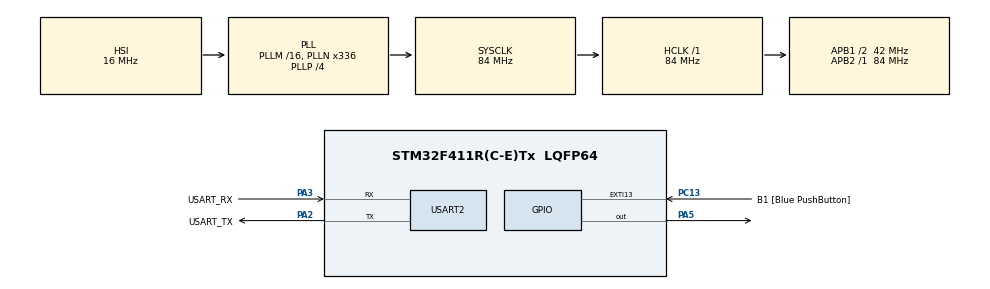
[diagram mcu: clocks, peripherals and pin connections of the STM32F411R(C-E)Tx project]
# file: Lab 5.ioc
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FREERTOS.Mutexes01=pencil,Dynamic,NULL
FREERTOS.Queues01=myQueue01,16,uint16_t,0,Dynamic,NULL,NULL
FREERTOS.Tasks01=defaultTask,24,128,StartDefaultTask,Default,NULL,Dynamic,NULL,NULL;ledOn,16,128,StartLedOn,Default,NULL,Dynamic,NULL,NULL;ledOff,16,128,StartLedOff,Default,NULL,Dynamic,NULL,NULL;getButtonInput,8,128,StartButtonPolling,Default,NULL,Dynamic,NULL,NULL
Mcu.Family=STM32F4
Mcu.Name=STM32F411R(C-E)Tx
Mcu.Package=LQFP64
NVIC.PriorityGroup=NVIC_PRIORITYGROUP_4
NVIC.TIM1_UP_TIM10_IRQn=true\:15\:0\:false\:false\:true\:false\:false\:true\:true
NVIC.TimeBase=TIM1_UP_TIM10_IRQn
NVIC.TimeBaseIP=TIM1
PA13.GPIO_Label=TMS
PA13.Mode=Serial_Wire
PA13.Signal=SYS_JTMS-SWDIO
PA14.GPIO_Label=TCK
PA14.Mode=Serial_Wire
PA14.Signal=SYS_JTCK-SWCLK
PA2.GPIO_Label=USART_TX
PA2.Mode=Asynchronous
PA2.Signal=USART2_TX
PA3.GPIO_Label=USART_RX
PA3.Mode=Asynchronous
PA3.Signal=USART2_RX
PA5.Signal=GPIO_Output
PC13-ANTI_TAMP.GPIO_Label=B1 [Blue PushButton]
PC13-ANTI_TAMP.GPIO_ModeDefaultEXTI=GPIO_MODE_IT_RISING
PC13-ANTI_TAMP.GPIO_PuPd=GPIO_NOPULL
PC13-ANTI_TAMP.Signal=GPXTI13
PC14-OSC32_IN.Mode=LSE-External-Oscillator
PC14-OSC32_IN.Signal=RCC_OSC32_IN
PC15-OSC32_OUT.Mode=LSE-External-Oscillator
PC15-OSC32_OUT.Signal=RCC_OSC32_OUT
PH0\ -\ OSC_IN.Mode=HSE-External-Clock-Source
PH0\ -\ OSC_IN.Signal=RCC_OSC_IN
PH1\ -\ OSC_OUT.Mode=HSE-External-Clock-Source
PH1\ -\ OSC_OUT.Signal=RCC_OSC_OUT
ProjectManager.HeapSize=0x200
ProjectManager.StackSize=0x400
ProjectManager.TargetToolchain=STM32CubeIDE
RCC.48MHZClocksFreq_Value=84000000
RCC.AHBFreq_Value=84000000
RCC.APB1CLKDivider=RCC_HCLK_DIV2
RCC.APB1Freq_Value=42000000
RCC.APB1TimFreq_Value=84000000
RCC.APB2Freq_Value=84000000
RCC.APB2TimFreq_Value=84000000
RCC.CortexFreq_Value=84000000
RCC.FLatency-AdvancedSettings=FLASH_LATENCY_2
RCC.HCLKFreq_Value=84000000
RCC.HSE_VALUE=8000000
RCC.HSI_VALUE=16000000
RCC.PLLN=336
RCC.PLLP=RCC_PLLP_DIV4
RCC.SYSCLKFreq_VALUE=84000000
RCC.SYSCLKSource=RCC_SYSCLKSOURCE_PLLCLK
RCC.VCOOutputFreq_Value=336000000
USART2.VirtualMode=VM_ASYNC
VP_FREERTOS_VS_CMSIS_V2.Mode=CMSIS_V2
VP_SYS_VS_tim1.Mode=TIM1
board=NUCLEO-F411RE

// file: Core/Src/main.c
/* USER CODE BEGIN Header */
/**
  ******************************************************************************
  * @file           : main.c
  * @brief          : Main program body
  ******************************************************************************
  * @attention
  *
  * Copyright (c) 2023 STMicroelectronics.
  * All rights reserved.
  *
  * This software is licensed under terms that can be found in the LICENSE file
  * in the root directory of this software component.
  * If no LICENSE file comes with this software, it is provided AS-IS.
  *
  ******************************************************************************
  */
/* USER CODE END Header */
#include "main.h"
#include "cmsis_os.h"

UART_HandleTypeDef huart2;

/* Definitions for defaultTask */
osThreadId_t defaultTaskHandle;
const osThreadAttr_t defaultTask_attributes = {
  .name = "defaultTask",
  .stack_size = 128 * 4,
  .priority = (osPriority_t) osPriorityNormal,
};
/* Definitions for ledOn */
osThreadId_t ledOnHandle;
const osThreadAttr_t ledOn_attributes = {
  .name = "ledOn",
  .stack_size = 128 * 4,
  .priority = (osPriority_t) osPriorityBelowNormal,
};
/* Definitions for ledOff */
osThreadId_t ledOffHandle;
const osThreadAttr_t ledOff_attributes = {
  .name = "ledOff",
  .stack_size = 128 * 4,
  .priority = (osPriority_t) osPriorityBelowNormal,
};
/* Definitions for getButtonInput */
osThreadId_t getButtonInputHandle;
const osThreadAttr_t getButtonInput_attributes = {
  .name = "getButtonInput",
  .stack_size = 128 * 4,
  .priority = (osPriority_t) osPriorityLow,
};
/* Definitions for myQueue01 */
osMessageQueueId_t myQueue01Handle;
const osMessageQueueAttr_t myQueue01_attributes = {
  .name = "myQueue01"
};
/* Definitions for pencil */
osMutexId_t pencilHandle;
const osMutexAttr_t pencil_attributes = {
  .name = "pencil"
};
/* USER CODE BEGIN PV */
int LED_ON;
/* USER CODE END PV */

void SystemClock_Config(void);
static void MX_GPIO_Init(void);
static void MX_USART2_UART_Init(void);
void StartDefaultTask(void *argument);
void StartLedOn(void *argument);
void StartLedOff(void *argument);
void StartButtonPolling(void *argument);

/* USER CODE BEGIN PFP */
// Function to help printf
int __io_putchar(int ch)
{
HAL_UART_Transmit(&huart2,(uint8_t*)&ch,1,HAL_MAX_DELAY);
return ch;
}
/* USER CODE END PFP */

int main(void)
{

  /* MCU Configuration--------------------------------------------------------*/

  /* Reset of all peripherals, Initializes the Flash interface and the Systick. */
  HAL_Init();

  /* Configure the system clock */
  SystemClock_Config();

  /* Initialize all configured peripherals */
  MX_GPIO_Init();
  MX_USART2_UART_Init();

  /* Init scheduler */
  osKernelInitialize();
  /* Create the mutex(es) */
  /* creation of pencil */
  pencilHandle = osMutexNew(&pencil_attributes);

  /* Create the queue(s) */
  /* creation of myQueue01 */
  myQueue01Handle = osMessageQueueNew (16, sizeof(uint16_t), &myQueue01_attributes);

  /* Create the thread(s) */
  /* creation of defaultTask */
  defaultTaskHandle = osThreadNew(StartDefaultTask, NULL, &defaultTask_attributes);

  /* creation of ledOn */
  ledOnHandle = osThreadNew(StartLedOn, NULL, &ledOn_attributes);

  /* creation of ledOff */
  ledOffHandle = osThreadNew(StartLedOff, NULL, &ledOff_attributes);

  /* creation of getButtonInput */
  getButtonInputHandle = osThreadNew(StartButtonPolling, NULL, &getButtonInput_attributes);

  LED_ON = 0;
  /* Start scheduler */
  osKernelStart();
  /* We should never get here as control is now taken by the scheduler */
  /* Infinite loop */
  while (1)
  {

  }
}

void SystemClock_Config(void)
{
  RCC_OscInitTypeDef RCC_OscInitStruct = {0};
  RCC_ClkInitTypeDef RCC_ClkInitStruct = {0};

  /** Configure the main internal regulator output voltage
  */
  __HAL_RCC_PWR_CLK_ENABLE();
  __HAL_PWR_VOLTAGESCALING_CONFIG(PWR_REGULATOR_VOLTAGE_SCALE1);

  /** Initializes the RCC Oscillators according to the specified parameters
  * in the RCC_OscInitTypeDef structure.
  */
  RCC_OscInitStruct.OscillatorType = RCC_OSCILLATORTYPE_HSI;
  RCC_OscInitStruct.HSIState = RCC_HSI_ON;
  RCC_OscInitStruct.HSICalibrationValue = RCC_HSICALIBRATION_DEFAULT;
  RCC_OscInitStruct.PLL.PLLState = RCC_PLL_ON;
  RCC_OscInitStruct.PLL.PLLSource = RCC_PLLSOURCE_HSI;
  RCC_OscInitStruct.PLL.PLLM = 16;
  RCC_OscInitStruct.PLL.PLLN = 336;
  RCC_OscInitStruct.PLL.PLLP = RCC_PLLP_DIV4;
  RCC_OscInitStruct.PLL.PLLQ = 4;
  if (HAL_RCC_OscConfig(&RCC_OscInitStruct) != HAL_OK)
  {
    Error_Handler();
  }

  /** Initializes the CPU, AHB and APB buses clocks
  */
  RCC_ClkInitStruct.ClockType = RCC_CLOCKTYPE_HCLK|RCC_CLOCKTYPE_SYSCLK
                              |RCC_CLOCKTYPE_PCLK1|RCC_CLOCKTYPE_PCLK2;
  RCC_ClkInitStruct.SYSCLKSource = RCC_SYSCLKSOURCE_PLLCLK;
  RCC_ClkInitStruct.AHBCLKDivider = RCC_SYSCLK_DIV1;
  RCC_ClkInitStruct.APB1CLKDivider = RCC_HCLK_DIV2;
  RCC_ClkInitStruct.APB2CLKDivider = RCC_HCLK_DIV1;

  if (HAL_RCC_ClockConfig(&RCC_ClkInitStruct, FLASH_LATENCY_2) != HAL_OK)
  {
    Error_Handler();
  }
}

static void MX_USART2_UART_Init(void)
{

  huart2.Instance = USART2;
  huart2.Init.BaudRate = 115200;
  huart2.Init.WordLength = UART_WORDLENGTH_8B;
  huart2.Init.StopBits = UART_STOPBITS_1;
  huart2.Init.Parity = UART_PARITY_NONE;
  huart2.Init.Mode = UART_MODE_TX_RX;
  huart2.Init.HwFlowCtl = UART_HWCONTROL_NONE;
  huart2.Init.OverSampling = UART_OVERSAMPLING_16;
  if (HAL_UART_Init(&huart2) != HAL_OK)
  {
    Error_Handler();
  }

}

static void MX_GPIO_Init(void)
{
  GPIO_InitTypeDef GPIO_InitStruct = {0};

  /* GPIO Ports Clock Enable */
  __HAL_RCC_GPIOC_CLK_ENABLE();
  __HAL_RCC_GPIOH_CLK_ENABLE();
  __HAL_RCC_GPIOA_CLK_ENABLE();

  /*Configure GPIO pin Output Level */
  HAL_GPIO_WritePin(GPIOA, GPIO_PIN_5, GPIO_PIN_RESET);

  /*Configure GPIO pin : B1_Pin */
  GPIO_InitStruct.Pin = B1_Pin;
  GPIO_InitStruct.Mode = GPIO_MODE_IT_RISING;
  GPIO_InitStruct.Pull = GPIO_NOPULL;
  HAL_GPIO_Init(B1_GPIO_Port, &GPIO_InitStruct);

  /*Configure GPIO pin : PA5 */
  GPIO_InitStruct.Pin = GPIO_PIN_5;
  GPIO_InitStruct.Mode = GPIO_MODE_OUTPUT_PP;
  GPIO_InitStruct.Pull = GPIO_NOPULL;
  GPIO_InitStruct.Speed = GPIO_SPEED_FREQ_LOW;
  HAL_GPIO_Init(GPIOA, &GPIO_InitStruct);

}

void StartDefaultTask(void *argument)
{
  for(;;)
  {
	  osDelay(1);
  }
}

void StartLedOn(void *argument)
{
  /* USER CODE BEGIN StartLedOn */
  /* Infinite loop */
  for(;;)
  {
	  if(LED_ON){
		  HAL_GPIO_WritePin(GPIOA, GPIO_PIN_5, GPIO_PIN_SET);
		  	  //printf("Start Led On \r\n");
		  	  osDelay(DUTY_CYCLE_PERIOD +1005);
	  }else{
		  osDelay(DUTY_CYCLE_PERIOD-5);
		  //osThreadYield();
	  }

  }
  /* USER CODE END StartLedOn */
}

void StartLedOff(void *argument)
{
  /* USER CODE BEGIN StartLedOff */
  /* Infinite loop */
  for(;;)
  {
	  if(LED_ON){
		  osDelay(DUTY_CYCLE_PERIOD-5);
		  //osThreadYield();
	  }else{
		  HAL_GPIO_WritePin(GPIOA, GPIO_PIN_5, GPIO_PIN_RESET);
		  	  //printf("Start Led Off \r\n");
		  osDelay(DUTY_CYCLE_PERIOD-5);
	  }
  }
  /* USER CODE END StartLedOff */
}

void StartButtonPolling(void *argument)
{
  /* USER CODE BEGIN StartButtonPolling */
  /* Infinite loop */
  for(;;)
  {
	  if(!HAL_GPIO_ReadPin(B1_GPIO_Port, B1_Pin)){

		  printf("The button was pressed \n");

		  if(LED_ON)
		  {
			  LED_ON = 0;
		  }else{
			  LED_ON = 1;
		  }

		  while(!HAL_GPIO_ReadPin(B1_GPIO_Port, B1_Pin))
		  {
			  printf("The button is being held down \n");
		  }

		  printf("The button was released \n");
		  printf("LED status %d \n",LED_ON);
	  }
    osDelay(1);
  }
  /* USER CODE END StartButtonPolling */
}

void HAL_TIM_PeriodElapsedCallback(TIM_HandleTypeDef *htim)
{
  if (htim->Instance == TIM1) {
    HAL_IncTick();
  }
}

void Error_Handler(void)
{
  __disable_irq();
  while (1)
  {
  }
}
